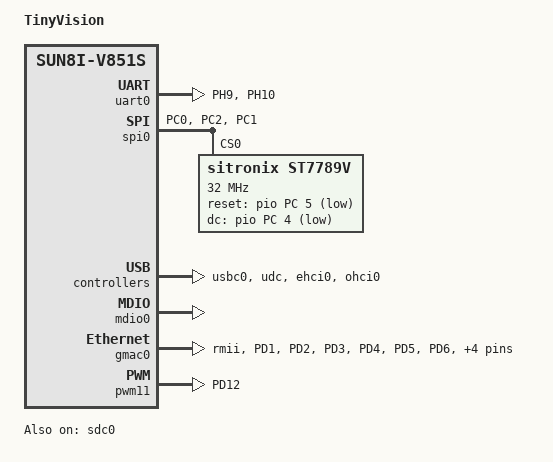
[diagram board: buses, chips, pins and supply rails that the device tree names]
/*
 * Allwinner Technology CO., Ltd. sun8iw21p1 soc board.
 *
 * soc board support.
 */
/dts-v1/;

#include "sun8iw21p1.dtsi"

/{
	model = "TinyVision";
	board = "V851se", "V851se-TinyVision";
	compatible = "allwinner,v851se", "arm,sun8iw21p1";
	aliases {
		serial0 = &uart0;
	};

	chosen {
		bootargs = "root=/dev/mmcblk0p2 earlyprintk=sunxi-uart,0x02500000 loglevel=8 initcall_debug=0 rootwait console=ttyS0 init=/init";
	};
};

&pio {
	uart0_pins_a: uart0_pins@0 {
		pins = "PH9", "PH10";
		function = "uart0";
	};

	uart0_pins_b: uart0_pins@1 {
		pins = "PH9", "PH10";
		function = "gpio_in";
	};

	uart1_pins_a: uart1_pins@0 {
		pins = "PE6", "PE7";
		function = "uart1";
	};

	uart1_pins_b: uart1_pins@1 {
		pins = "PE6", "PE7";
		function = "gpio_in";
	};

	uart2_pins_a: uart2_pins@0 {
		pins = "PA8", "PA9";
		function = "uart2";
	};

	uart2_pins_b: uart2_pins@1 {
		pins = "PA8", "PA9";
		function = "gpio_in";
	};

	uart3_pins_a: uart3_pins@0 {
		pins = "PE12", "PE13";
		function = "uart3";
	};

	uart3_pins_b: uart3_pins@1 {
		pins = "PE12", "PE13";
		function = "gpio_in";
	};

	spi0_pins_default: spi0@0 {
		pins = "PC0", "PC2", "PC3"; /* clk, mosi, miso */
		function = "spi0";
		drive-strength = <10>;
	};

	spi0_pins_cs: spi0@1 {
		pins = "PC1", "PC4", "PC5"; /* cs, wp, hold */
		function = "spi0";
		drive-strength = <10>;
		bias-pull-up;
	};

	spi0_pins_lcd: spi0@2 {
		pins = "PC0", "PC2"; /* clk, mosi */
		function = "spi0";
		drive-strength = <10>;
	};

	spi0_pins_lcd_cs: spi0@3 {
		pins = "PC1"; /* cs */
		function = "spi0";
		drive-strength = <10>;
	};

	spi0_pins_sleep: spi0@4 {
		pins = "PC0", "PC2", "PC3", "PC1", "PC4", "PC5";
		function = "gpio_in";
		drive-strength = <10>;
	};

	spi1_pins_default: spi1@0 {
		pins = "PD2", "PD3", "PD4"; /* clk, mosi, miso */
		function = "spi1";
		drive-strength = <40>;
	};

	spi1_pins_cs: spi1@1 {
		pins = "PD1", "PD5", "PD6"; /* cs, hold, wp */
		function = "spi1";
		drive-strength = <40>;
		bias-pull-up;
	};

	spi1_pins_sleep: spi1@3 {
		pins = "PD2", "PD3", "PD4", "PD1", "PD5", "PD6";
		function = "gpio_in";
		drive-strength = <10>;
	};

	twi0_pins_default: twi0@0 {
		pins = "PA10", "PA11";
		function = "twi0";
		drive-strength = <10>;
		bias-pull-up;
	};

	twi0_pins_sleep: twi0@1 {
		pins = "PA10", "PA11";
		function = "gpio_in";
	};

	twi1_pins_default: twi1@0 {
		pins = "PA6", "PA7";
		function = "twi1";
		drive-strength = <10>;
		bias-pull-up;
	};

	twi1_pins_sleep: twi1@1 {
		pins = "PA6", "PA7";
		function = "gpio_in";
	};

	twi2_pins_default: twi2@0 {
		pins = "PD20", "PD21";
		function = "twi2";
		drive-strength = <10>;
		bias-pull-up;
	};

	twi2_pins_sleep: twi2@1 {
		pins = "PD20", "PD21";
		function = "gpio_in";
	};

	twi3_pins_default: twi3@0 {
		pins = "PD18", "PD19";
		function = "twi3";
		drive-strength = <10>;
		bias-pull-up;
	};

	twi3_pins_sleep: twi3@1 {
		pins = "PD18", "PD19";
		function = "gpio_in";
	};

	twi4_pins_default: twi4@0 {
		pins = "PA8", "PA9";
		function = "twi4";
		drive-strength = <10>;
		bias-pull-up;
	};

	twi4_pins_sleep: twi4@1 {
		pins = "PA8", "PA9";
		function = "gpio_in";
	};

	pwm0_pin_active: pwm0@0 {
		pins = "PA6";
		function = "pwm0";
	};

	pwm0_pin_sleep: pwm0@1 {
		pins = "PA6";
		function = "gpio_in";
		bias-pull-down;
	};

	pwm1_pin_active: pwm1@0 {
		pins = "PA7";
		function = "pwm1";
	};

	pwm1_pin_sleep: pwm1@1 {
		pins = "PA7";
		function = "gpio_in";
		bias-pull-down;
	};

	pwm2_pin_active: pwm2@0 {
		pins = "PD3";
		function = "pwm2";
	};

	pwm2_pin_sleep: pwm2@1{
		pins = "PD3";
		function = "gpio_in";
		bias-pull-down;
	};

	pwm3_pin_active: pwm3@0 {
		pins = "PD4";
		function = "pwm3";
	};

	pwm3_pin_sleep: pwm3@1 {
		pins = "PD4";
		function = "gpio_in";
		bias-pull-down;
	};

	pwm4_pin_active: pwm4@0 {
		pins = "PD5";
		function = "pwm4";
	};

	pwm4_pin_sleep: pwm4@1 {
		pins = "PD5";
		function = "gpio_in";
		bias-pull-down;
	};

	pwm5_pin_active: pwm5@0 {
		pins = "PD6";
		function = "pwm5";
	};

	pwm5_pin_sleep: pwm5@1 {
		pins = "PD6";
		function = "gpio_in";
		bias-pull-down;
	};

	pwm6_pin_active: pwm6@0 {
		pins = "PD7";
		function = "pwm6";
	};

	pwm6_pin_sleep: pwm6@1 {
		pins = "PD7";
		function = "gpio_in";
		bias-pull-down;
	};

	pwm7_pin_active: pwm7@0 {
		pins = "PD8";
		function = "pwm7";
	};

	pwm7_pin_sleep: pwm7@1 {
		pins = "PD8";
		function = "gpio_in";
		bias-pull-down;
	};

	pwm8_pin_active: pwm8@0 {
		pins = "PE8";
		function = "pwm8";
	};

	pwm8_pin_sleep: pwm8@1 {
		pins = "PE8";
		function = "gpio_in";
		bias-pull-down;
	};

	pwm9_pin_active: pwm9@0 {
		pins = "PD19";
		function = "pwm9";
	};

	pwm9_pin_sleep: pwm9@1 {
		pins = "PD19";
		function = "gpio_in";
		bias-pull-down;
	};

	pwm10_pin_active: pwm10@0 {
		pins = "PD20";
		function = "pwm10";
	};

	pwm10_pin_sleep: pwm10@1 {
		pins = "PD20";
		function = "gpio_in";
		bias-pull-down;
	};

	pwm11_pin_active: pwm11@0 {
		pins = "PD12";
		function = "pwm11";
	};

	pwm11_pin_sleep: pwm11@1 {
		pins = "PD12";
		function = "gpio_in";
		bias-pull-down;
	};

	gmac0_pins_active: gmac0@0 {
		pins = "PD1", "PD2", "PD3", "PD4",
			"PD5", "PD6", "PD7","PD9",
			"PD10", "PD11";
		function = "ephy";
		drive-strength = <30>;
		bias-pull-up;
	};

	gmac0_pins_sleep: gmac0@1 {
		pins = "PD1", "PD2", "PD3", "PD4",
			"PD5", "PD6", "PD7","PD9",
			"PD10", "PD11";
		function = "io_disabled";
	};
};

&uart0 {
	pinctrl-names = "default", "sleep";
	pinctrl-0 = <&uart0_pins_a>;
	pinctrl-1 = <&uart0_pins_b>;
	status = "okay";
};

&uart1 {
	pinctrl-names = "default", "sleep";
	pinctrl-0 = <&uart1_pins_a>;
	pinctrl-1 = <&uart1_pins_b>;
	status = "disabled";
};

&uart2 {
	pinctrl-names = "default", "sleep";
	pinctrl-0 = <&uart2_pins_a>;
	pinctrl-1 = <&uart2_pins_b>;
	status = "disabled";
};

&uart3 {
	pinctrl-names = "default", "sleep";
	pinctrl-0 = <&uart3_pins_a>;
	pinctrl-1 = <&uart3_pins_b>;
	status = "disabled";
};

&spi0 {
	pinctrl-0 = <&spi0_pins_lcd &spi0_pins_lcd_cs>;
	pinctrl-1 = <&spi0_pins_sleep>;
	pinctrl-names = "default", "sleep";
	sunxi,spi-bus-mode = <SUNXI_SPI_BUS_MASTER>;
	sunxi,spi-cs-mode = <SUNXI_SPI_CS_AUTO>;
	status = "okay";

	st7789v@0 {
    	status = "okay";
    	compatible = "sitronix,st7789v";
		reg = <0>;
		spi-max-frequency = <32000000>;
		rotate = <90>;
		rgb;
		fps = <30>;
		buswidth = <8>;
		reset = <&pio PC 5 GPIO_ACTIVE_LOW>;
		dc = <&pio PC 4 GPIO_ACTIVE_LOW>;
		debug = <1>;
	};
};

&spi1 {
	pinctrl-0 = <&spi1_pins_default &spi1_pins_cs>;
	pinctrl-1 = <&spi1_pins_sleep>;
	pinctrl-names = "default", "sleep";
	sunxi,spi-bus-mode = <SUNXI_SPI_BUS_MASTER>;
	sunxi,spi-cs-mode = <SUNXI_SPI_CS_AUTO>;
	status = "disabled";

	spidev0: spidev@0 {
		compatible = "rohm,dh2228fv";
		reg = <0x0>;
		spi-max-frequency = <100000000>;
		spi-rx-bus-width = <4>;
		spi-tx-bus-width = <4>;
		status = "disabled";
	};
};

&sdc2 {
	non-removable;
	bus-width = <4>;
	mmc-ddr-3_3v;
	/*mmc-hs200-1_8v;*/
	/*mmc-hs400-1_8v;*/
	no-sdio;
	/delete-property/ no-sd;
	no-mmc;
	ctl-spec-caps = <0x8>;
	cap-mmc-highspeed;
	sunxi-signal-vol-sw-without-pmu;
	sunxi-power-save-mode;
	/*sunxi-dis-signal-vol-sw;*/
	max-frequency = <50000000>;
	/*vmmc-supply = <&reg_dcdc1>;*/
	/*emmc io vol 3.3v*/
	/*vqmmc-supply = <&reg_aldo1>;*/
	/*emmc io vol 1.8v*/
	/*vqmmc-supply = <&reg_eldo1>;*/
	status = "disabled";
};

&sdc0 {
	bus-width = <4>;
	/*cd-gpios = <&pio PF 6 (GPIO_ACTIVE_LOW | GPIO_PULL_UP)>;*/
	non-removable;
	broken-cd;
	/*cd-inverted*/
	/*data3-detect;*/
	/*card-pwr-gpios = <&pio PH 0 1 1 2 0xffffffff>;*/
	cd-used-24M;
	cap-sd-highspeed;
	/*sd-uhs-sdr50;*/
	/*sd-uhs-ddr50;*/
	/*sd-uhs-sdr104;*/
	no-sdio;
	no-mmc;
	sunxi-signal-vol-sw-without-pmu;
	sunxi-power-save-mode;
	/*sunxi-dis-signal-vol-sw;*/
	max-frequency = <50000000>;
	ctl-spec-caps = <0x408>;
	/* vmmc-supply = <&reg_dcdc1>; */
	/* vqmmc33sw-supply = <&reg_dcdc1>; */
	/* vdmmc33sw-supply = <&reg_dcdc1>; */
	/* vqmmc18sw-supply = <&reg_bldo1>; */
	/* vdmmc18sw-supply = <&reg_bldo1>; */
	/delete-property/ pinctrl-2;
	status = "okay";
};

&sdc1 {
	bus-width = <4>;
	no-mmc;
	no-sd;
	cap-sd-highspeed;
	/*sd-uhs-sdr12*/
	/*sd-uhs-sdr25*/
	/*sd-uhs-sdr50;*/
	/*sd-uhs-ddr50;*/
	/*sd-uhs-sdr104*/
	/*sunxi-power-save-mode;*/
	/*sunxi-dis-signal-vol-sw;*/
	cap-sdio-irq;
	keep-power-in-suspend;
	ignore-pm-notify;
	max-frequency = <50000000>;
	ctl-spec-caps = <0x8>;
	pinctrl-0 = <&sdc1_pins_a>;
	pinctrl-1 = <&sdc1_pins_b>;
	status = "disabled";
};

/*
 *usb_port_type: usb mode. 0-device, 1-host, 2-otg.
 *usb_detect_type: usb hotplug detect mode. 0-none, 1-vbus/id detect, 2-id/dpdm detect.
 *usb_detect_mode: 0-thread scan, 1-id gpio interrupt.
 *usb_id_gpio: gpio for id detect.
 *usb_det_vbus_gpio: gpio for id detect. gpio or "axp_ctrl";
 *usb_wakeup_suspend：0-SUPER_STANDBY, 1-USB_STANDBY.
 */
&usbc0 {
	device_type = "usbc0";
	usb_port_type = <0x0>;
	usb_detect_type = <0x0>;
	usb_detect_mode = <0x0>;
	usb_id_gpio;
	usb_det_vbus_gpio;
	/* det_vbus_supply = <&usb_power_supply>; */
	usb_regulator_io = "nocare";
	usb_wakeup_suspend = <0>;
	usb_serial_unique = <0>;
	usb_serial_number = "20080411";
	status = "okay";
};

&udc {
	/* det_vbus_supply = <&usb_power_supply>; */
	status = "okay";
};

&ehci0 {
	/* drvvbus-supply = <&reg_drivevbus>; */
	status = "okay";
};

&ohci0 {
	/* drvvbus-supply = <&reg_drivevbus>; */
	status = "okay";
};

&mdio0 {
	status = "okay";
};

&gmac0 {
	phy-mode = "rmii";
	pinctrl-names = "default", "sleep";
	pinctrl-0 = <&gmac0_pins_active>;
	pinctrl-1 = <&gmac0_pins_sleep>;
	sunxi,phy-clk-type = <0x1>;
	sunxi,pwm-channel = <11>;
	status = "okay";
};

&twi0 {
	clock-frequency = <400000>;
	pinctrl-0 = <&twi0_pins_default>;
	pinctrl-1 = <&twi0_pins_sleep>;
	pinctrl-names = "default", "sleep";
	/* For stability and backwards compatibility, we recommend setting ‘twi_drv_used’ to 1 */
	twi_drv_used = <1>;
	status = "disabled";
};

&twi1 {
	clock-frequency = <400000>;
	pinctrl-0 = <&twi1_pins_default>;
	pinctrl-1 = <&twi1_pins_sleep>;
	pinctrl-names = "default", "sleep";
	/* For stability and backwards compatibility, we recommend setting ‘twi_drv_used’ to 1 */
	twi_drv_used = <1>;
	status = "disabled";
};

&twi2 {
	clock-frequency = <400000>;
	pinctrl-0 = <&twi2_pins_default>;
	pinctrl-1 = <&twi2_pins_sleep>;
	pinctrl-names = "default", "sleep";
	/* For stability and backwards compatibility, we recommend setting ‘twi_drv_used’ to 1 */
	twi_drv_used = <1>;
	status = "disabled";
};

&twi3 {
	clock-frequency = <400000>;
	pinctrl-0 = <&twi3_pins_default>;
	pinctrl-1 = <&twi3_pins_sleep>;
	pinctrl-names = "default", "sleep";
	/* For stability and backwards compatibility, we recommend setting ‘twi_drv_used’ to 1 */
	twi_drv_used = <1>;
	status = "disabled";
};

&twi4 {
	clock-frequency = <400000>;
	pinctrl-0 = <&twi4_pins_default>;
	pinctrl-1 = <&twi4_pins_sleep>;
	pinctrl-names = "default", "sleep";
	/* For stability and backwards compatibility, we recommend setting ‘twi_drv_used’ to 1 */
	twi_drv_used = <1>;
	status = "disabled";
};

&pwm0 {
	pinctrl-0 = <&pwm0_pin_active>;
	pinctrl-1 = <&pwm0_pin_sleep>;
	status = "disabled";
};

&pwm1 {
	pinctrl-0 = <&pwm1_pin_active>;
	pinctrl-1 = <&pwm1_pin_sleep>;
	status = "disabled";
};

&pwm2 {
	pinctrl-0 = <&pwm2_pin_active>;
	pinctrl-1 = <&pwm2_pin_sleep>;
	status = "disabled";
};

&pwm3 {
	pinctrl-0 = <&pwm3_pin_active>;
	pinctrl-1 = <&pwm3_pin_sleep>;
	status = "disabled";
};

&pwm4 {
	pinctrl-0 = <&pwm4_pin_active>;
	pinctrl-1 = <&pwm4_pin_sleep>;
	status = "disabled";
};

&pwm5 {
	pinctrl-0 = <&pwm5_pin_active>;
	pinctrl-1 = <&pwm5_pin_sleep>;
	status = "disabled";
};

&pwm6 {
	pinctrl-0 = <&pwm6_pin_active>;
	pinctrl-1 = <&pwm6_pin_sleep>;
	status = "disabled";
};

&pwm7 {
	pinctrl-0 = <&pwm7_pin_active>;
	pinctrl-1 = <&pwm7_pin_sleep>;
	status = "disabled";
};

&pwm8 {
	pinctrl-0 = <&pwm8_pin_active>;
	pinctrl-1 = <&pwm8_pin_sleep>;
	status = "disabled";
};

&pwm9 {
	pinctrl-0 = <&pwm9_pin_active>;
	pinctrl-1 = <&pwm9_pin_sleep>;
	status = "disabled";
};

&pwm10 {
	pinctrl-0 = <&pwm10_pin_active>;
	pinctrl-1 = <&pwm10_pin_sleep>;
	status = "disabled";
};

&pwm11 {
	pinctrl-0 = <&pwm11_pin_active>;
	pinctrl-1 = <&pwm11_pin_sleep>;
	status = "okay";
};

&lcd_fb0 {
	lcd_used = <1>;
	lcd_driver_name = "st7789v";
	lcd_x = <240>;
	lcd_y = <240>;
	lcd_width = <32>;
	lcd_height = <32>;
	lcd_data_speed = <60>;

	lcd_if = <0>;

	lcd_dbi_if = <4>;
	lcd_spi_bus_num = <0>;
	lcd_pixel_fmt = <0>;
	lcd_dbi_fmt = <3>;
	lcd_rgb_order = <0>;

	lcd_pwm_used = <0>;
	lcd_pwm_ch = <6>;
	lcd_pwm_freq = <5000>;
	lcd_pwm_pol = <1>;

	lcd_frm = <1>;
	lcd_gamma_en = <1>;
	fb_buffer_num = <2>;
	lcd_backlight = <100>;

	lcd_fps = <60>;
	lcd_dbi_te = <1>;
	lcd_dbi_clk_mode = <0>;

	lcd_gpio_0 = <&pio PC 5 GPIO_ACTIVE_LOW>;
	lcd_spi_dc_pin = <&pio PC 4 GPIO_ACTIVE_HIGH>;
	status = "disabled";
};
